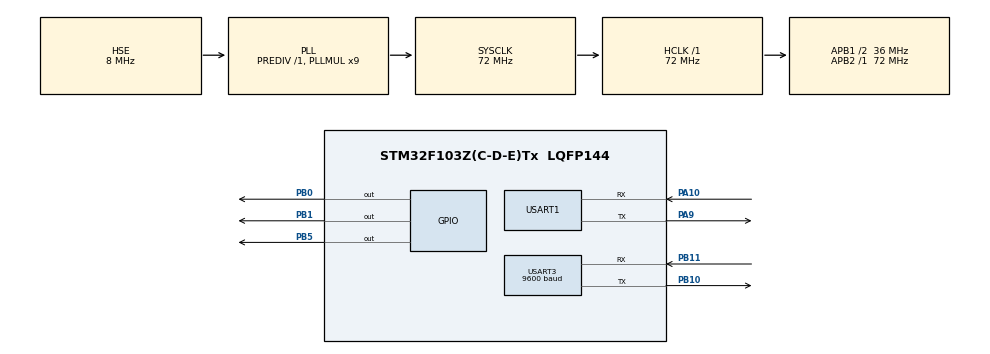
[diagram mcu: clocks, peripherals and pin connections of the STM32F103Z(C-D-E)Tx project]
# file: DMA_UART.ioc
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Dma.Request0=USART1_TX
Dma.Request1=USART1_RX
Dma.USART1_RX.1.Direction=DMA_PERIPH_TO_MEMORY
Dma.USART1_RX.1.Instance=DMA1_Channel5
Dma.USART1_RX.1.MemDataAlignment=DMA_MDATAALIGN_BYTE
Dma.USART1_RX.1.MemInc=DMA_MINC_ENABLE
Dma.USART1_RX.1.Mode=DMA_CIRCULAR
Dma.USART1_RX.1.PeriphDataAlignment=DMA_PDATAALIGN_BYTE
Dma.USART1_RX.1.PeriphInc=DMA_PINC_DISABLE
Dma.USART1_RX.1.Priority=DMA_PRIORITY_HIGH
Dma.USART1_TX.0.Direction=DMA_MEMORY_TO_PERIPH
Dma.USART1_TX.0.Instance=DMA1_Channel4
Dma.USART1_TX.0.MemDataAlignment=DMA_MDATAALIGN_BYTE
Dma.USART1_TX.0.MemInc=DMA_MINC_ENABLE
Dma.USART1_TX.0.Mode=DMA_NORMAL
Dma.USART1_TX.0.PeriphDataAlignment=DMA_PDATAALIGN_BYTE
Dma.USART1_TX.0.PeriphInc=DMA_PINC_DISABLE
Dma.USART1_TX.0.Priority=DMA_PRIORITY_MEDIUM
Mcu.Family=STM32F1
Mcu.Name=STM32F103Z(C-D-E)Tx
Mcu.Package=LQFP144
NVIC.DMA1_Channel4_IRQn=true\:0\:0\:false\:false\:true\:false
NVIC.DMA1_Channel5_IRQn=true\:0\:0\:false\:false\:true\:false
NVIC.PriorityGroup=NVIC_PRIORITYGROUP_4
NVIC.USART1_IRQn=true\:0\:0\:false\:false\:true\:true
OSC_IN.Mode=HSE-External-Oscillator
OSC_IN.Signal=RCC_OSC_IN
OSC_OUT.Mode=HSE-External-Oscillator
OSC_OUT.Signal=RCC_OSC_OUT
PA10.Mode=Asynchronous
PA10.Signal=USART1_RX
PA9.Mode=Asynchronous
PA9.Signal=USART1_TX
PB0.Signal=GPIO_Output
PB1.Signal=GPIO_Output
PB10.Mode=Asynchronous
PB10.Signal=USART3_TX
PB11.Mode=Asynchronous
PB11.Signal=USART3_RX
PB5.Signal=GPIO_Output
ProjectManager.HeapSize=0x200
ProjectManager.StackSize=0x400
ProjectManager.TargetToolchain=MDK-ARM V5
RCC.AHBFreq_Value=72000000
RCC.APB1CLKDivider=RCC_HCLK_DIV2
RCC.APB1Freq_Value=36000000
RCC.APB1TimFreq_Value=72000000
RCC.APB2Freq_Value=72000000
RCC.APB2TimFreq_Value=72000000
RCC.HCLKFreq_Value=72000000
RCC.PLLMUL=RCC_PLL_MUL9
RCC.PLLSourceVirtual=RCC_PLLSOURCE_HSE
RCC.SYSCLKFreq_VALUE=72000000
RCC.SYSCLKSource=RCC_SYSCLKSOURCE_PLLCLK
RCC.USBFreq_Value=72000000
USART1.VirtualMode=VM_ASYNC
USART3.BaudRate=9600
USART3.VirtualMode=VM_ASYNC
VP_SYS_VS_ND.Mode=No_Debug
board=custom

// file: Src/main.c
/**
  ******************************************************************************
  * @file           : main.c
  * @brief          : Main program body
  ******************************************************************************
  ** This notice applies to any and all portions of this file
  * that are not between comment pairs USER CODE BEGIN and
  * USER CODE END. Other portions of this file, whether
  * inserted by the user or by software development tools
  * are owned by their respective copyright owners.
  *
  * COPYRIGHT(c) 2018 STMicroelectronics
  *
  * Redistribution and use in source and binary forms, with or without modification,
  * are permitted provided that the following conditions are met:
  *   1. Redistributions of source code must retain the above copyright notice,
  *      this list of conditions and the following disclaimer.
  *   2. Redistributions in binary form must reproduce the above copyright notice,
  *      this list of conditions and the following disclaimer in the documentation
  *      and/or other materials provided with the distribution.
  *   3. Neither the name of STMicroelectronics nor the names of its contributors
  *      may be used to endorse or promote products derived from this software
  *      without specific prior written permission.
  *
  * THIS SOFTWARE IS PROVIDED BY THE COPYRIGHT HOLDERS AND CONTRIBUTORS "AS IS"
  * AND ANY EXPRESS OR IMPLIED WARRANTIES, INCLUDING, BUT NOT LIMITED TO, THE
  * IMPLIED WARRANTIES OF MERCHANTABILITY AND FITNESS FOR A PARTICULAR PURPOSE ARE
  * DISCLAIMED. IN NO EVENT SHALL THE COPYRIGHT HOLDER OR CONTRIBUTORS BE LIABLE
  * FOR ANY DIRECT, INDIRECT, INCIDENTAL, SPECIAL, EXEMPLARY, OR CONSEQUENTIAL
  * DAMAGES (INCLUDING, BUT NOT LIMITED TO, PROCUREMENT OF SUBSTITUTE GOODS OR
  * SERVICES; LOSS OF USE, DATA, OR PROFITS; OR BUSINESS INTERRUPTION) HOWEVER
  * CAUSED AND ON ANY THEORY OF LIABILITY, WHETHER IN CONTRACT, STRICT LIABILITY,
  * OR TORT (INCLUDING NEGLIGENCE OR OTHERWISE) ARISING IN ANY WAY OUT OF THE USE
  * OF THIS SOFTWARE, EVEN IF ADVISED OF THE POSSIBILITY OF SUCH DAMAGE.
  *
  ******************************************************************************
  */
#include "main.h"
#include "stm32f1xx_hal.h"
#include "dma.h"
#include "usart.h"
#include "gpio.h"

/* USER CODE BEGIN Includes */
#include "myhardware.h"

/* USER CODE END Includes */

/* USER CODE BEGIN PV */
/* Private variables ---------------------------------------------------------*/

extern DMA_HandleTypeDef hdma_usart1_tx;

/* USER CODE END PV */

void SystemClock_Config(void);

/* USER CODE BEGIN PFP */
/* Private function prototypes -----------------------------------------------*/

/* USER CODE END PFP */

int main(void)
{
  /* USER CODE BEGIN 1 */

	uint32_t i;
	for(i = 0;i < BUFFER_SIZE;i++)
	{

			data1[i] = 'p';
	}
	for(i = 0;i < BUFFER_SIZE;i++)
	{

			data2[i] = '-';
	}

  /* USER CODE END 1 */

  /* MCU Configuration----------------------------------------------------------*/

  /* Reset of all peripherals, Initializes the Flash interface and the Systick. */
  HAL_Init();

  /* Configure the system clock */
  SystemClock_Config();

  /* Initialize all configured peripherals */
  MX_GPIO_Init();
  MX_DMA_Init();
  MX_USART1_UART_Init();
  MX_USART3_UART_Init();
  /* USER CODE BEGIN 2 */

	//可屏蔽串口发送完成中断
	__HAL_UART_DISABLE_IT(&huart1, UART_IT_TC);

	while(HAL_OK != HAL_UART_Transmit_DMA(&huart1,data1,BUFFER_SIZE))
	{
			//直接返回
	}

		  /* 等待DMA传输完成 */
  while(__HAL_DMA_GET_COUNTER(&hdma_usart1_tx)!=0)
  {

  }

	//第二次
	HAL_GPIO_WritePin(GPIOB, GPIO_PIN_0|GPIO_PIN_1|GPIO_PIN_5, GPIO_PIN_RESET);
	HAL_GPIO_WritePin(GPIOB, GPIO_PIN_0|GPIO_PIN_1|GPIO_PIN_5, GPIO_PIN_RESET); //白色

	delay_ms(2000);
	printf("two\n");
	HAL_UART_Transmit_DMA(&huart1,data2,BUFFER_SIZE);

		  /* 等待DMA传输完成 */
  while(__HAL_DMA_GET_COUNTER(&hdma_usart1_tx)!=0)
  {

  }

	HAL_UART_Receive_DMA(&huart1,receive_data,DMA_Rec_Len);

  /* USER CODE END 2 */

  /* Infinite loop */
  while (1)
  {

  /* USER CODE BEGIN 3 */

	if(send_flag == START_SEND)
	{
			while(HAL_OK != HAL_UART_Transmit_DMA(&huart1,receive_data,DMA_Rec_Len))
			{
			//直接返回
			}

			/* 等待DMA传输完成 */
			while(__HAL_DMA_GET_COUNTER(&hdma_usart1_tx)!=0)
			{

			}

			send_flag = END_SEND;

	}

  }
  /* USER CODE END 3 */

}

void SystemClock_Config(void)
{

  RCC_OscInitTypeDef RCC_OscInitStruct;
  RCC_ClkInitTypeDef RCC_ClkInitStruct;

    /**Initializes the CPU, AHB and APB busses clocks
    */
  RCC_OscInitStruct.OscillatorType = RCC_OSCILLATORTYPE_HSE;
  RCC_OscInitStruct.HSEState = RCC_HSE_ON;
  RCC_OscInitStruct.HSEPredivValue = RCC_HSE_PREDIV_DIV1;
  RCC_OscInitStruct.HSIState = RCC_HSI_ON;
  RCC_OscInitStruct.PLL.PLLState = RCC_PLL_ON;
  RCC_OscInitStruct.PLL.PLLSource = RCC_PLLSOURCE_HSE;
  RCC_OscInitStruct.PLL.PLLMUL = RCC_PLL_MUL9;
  if (HAL_RCC_OscConfig(&RCC_OscInitStruct) != HAL_OK)
  {
    _Error_Handler(__FILE__, __LINE__);
  }

    /**Initializes the CPU, AHB and APB busses clocks
    */
  RCC_ClkInitStruct.ClockType = RCC_CLOCKTYPE_HCLK|RCC_CLOCKTYPE_SYSCLK
                              |RCC_CLOCKTYPE_PCLK1|RCC_CLOCKTYPE_PCLK2;
  RCC_ClkInitStruct.SYSCLKSource = RCC_SYSCLKSOURCE_PLLCLK;
  RCC_ClkInitStruct.AHBCLKDivider = RCC_SYSCLK_DIV1;
  RCC_ClkInitStruct.APB1CLKDivider = RCC_HCLK_DIV2;
  RCC_ClkInitStruct.APB2CLKDivider = RCC_HCLK_DIV1;

  if (HAL_RCC_ClockConfig(&RCC_ClkInitStruct, FLASH_LATENCY_2) != HAL_OK)
  {
    _Error_Handler(__FILE__, __LINE__);
  }

    /**Configure the Systick interrupt time
    */
  HAL_SYSTICK_Config(HAL_RCC_GetHCLKFreq()/1000);

    /**Configure the Systick
    */
  HAL_SYSTICK_CLKSourceConfig(SYSTICK_CLKSOURCE_HCLK);

  /* SysTick_IRQn interrupt configuration */
  HAL_NVIC_SetPriority(SysTick_IRQn, 0, 0);
}

void _Error_Handler(char *file, int line)
{
  while(1)
  {
  }
}

/************************ (C) COPYRIGHT STMicroelectronics *****END OF FILE****/
